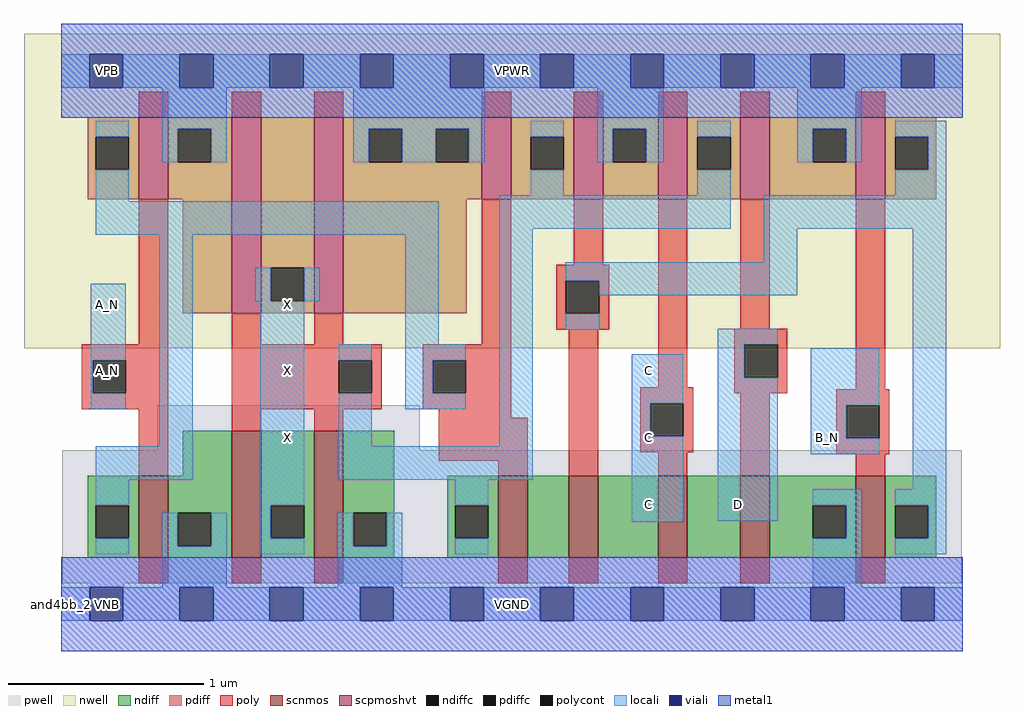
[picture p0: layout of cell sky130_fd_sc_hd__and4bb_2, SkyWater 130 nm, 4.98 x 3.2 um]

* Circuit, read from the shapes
.subckt sky130_fd_sc_hd__and4bb_2 A_N B_N C D VGND VNB VPB VPWR X
XM1 VGND A_N n1 VNB sky130_fd_pr__nfet_01v8 w=0.42 l=0.15
XM2 X n2 VGND VNB sky130_fd_pr__nfet_01v8 w=0.65 l=0.15 m=2
XM3 n3 n1 n2 VNB sky130_fd_pr__nfet_01v8 w=0.42 l=0.15
XM4 n4 n5 n3 VNB sky130_fd_pr__nfet_01v8 w=0.42 l=0.15
XM5 n6 C n4 VNB sky130_fd_pr__nfet_01v8 w=0.42 l=0.15
XM6 VGND D n6 VNB sky130_fd_pr__nfet_01v8 w=0.42 l=0.15
XM7 n5 B_N VGND VNB sky130_fd_pr__nfet_01v8 w=0.42 l=0.15
XM8 VPWR A_N n1 VPB sky130_fd_pr__pfet_01v8_hvt w=0.42 l=0.15
XM9 X n2 VPWR VPB sky130_fd_pr__pfet_01v8_hvt w=1 l=0.15 m=2
XM10 n2 n1 VPWR VPB sky130_fd_pr__pfet_01v8_hvt w=0.42 l=0.15
XM11 VPWR n5 n2 VPB sky130_fd_pr__pfet_01v8_hvt w=0.42 l=0.15
XM12 n2 C VPWR VPB sky130_fd_pr__pfet_01v8_hvt w=0.42 l=0.15
XM13 VPWR D n2 VPB sky130_fd_pr__pfet_01v8_hvt w=0.42 l=0.15
XM14 n5 B_N VPWR VPB sky130_fd_pr__pfet_01v8_hvt w=0.42 l=0.15
.ends

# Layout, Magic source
magic
tech sky130B
magscale 1 2
<< nwell >>
rect -38 261 958 582
<< pwell >>
rect 98 157 366 203
rect 1 21 919 157
rect 30 -17 64 21
<< scnmos >>
rect 79 47 109 131
rect 174 47 204 177
rect 258 47 288 177
rect 446 47 476 131
rect 518 47 548 131
rect 609 47 639 131
rect 693 47 723 131
rect 811 47 841 131
<< scpmoshvt >>
rect 79 413 109 497
rect 174 297 204 497
rect 258 297 288 497
rect 429 413 459 497
rect 523 413 553 497
rect 609 413 639 497
rect 693 413 723 497
rect 811 413 841 497
<< ndiff >>
rect 124 131 174 177
rect 27 101 79 131
rect 27 67 35 101
rect 69 67 79 101
rect 27 47 79 67
rect 109 93 174 131
rect 109 59 119 93
rect 153 59 174 93
rect 109 47 174 59
rect 204 101 258 177
rect 204 67 214 101
rect 248 67 258 101
rect 204 47 258 67
rect 288 93 340 177
rect 288 59 298 93
rect 332 59 340 93
rect 288 47 340 59
rect 394 101 446 131
rect 394 67 402 101
rect 436 67 446 101
rect 394 47 446 67
rect 476 47 518 131
rect 548 47 609 131
rect 639 47 693 131
rect 723 101 811 131
rect 723 67 767 101
rect 801 67 811 101
rect 723 47 811 67
rect 841 101 893 131
rect 841 67 851 101
rect 885 67 893 101
rect 841 47 893 67
<< pdiff >>
rect 27 477 79 497
rect 27 443 35 477
rect 69 443 79 477
rect 27 413 79 443
rect 109 485 174 497
rect 109 451 119 485
rect 153 451 174 485
rect 109 413 174 451
rect 124 297 174 413
rect 204 343 258 497
rect 204 309 214 343
rect 248 309 258 343
rect 204 297 258 309
rect 288 485 429 497
rect 288 451 314 485
rect 348 451 382 485
rect 416 451 429 485
rect 288 413 429 451
rect 459 477 523 497
rect 459 443 479 477
rect 513 443 523 477
rect 459 413 523 443
rect 553 485 609 497
rect 553 451 563 485
rect 597 451 609 485
rect 553 413 609 451
rect 639 477 693 497
rect 639 443 649 477
rect 683 443 693 477
rect 639 413 693 443
rect 723 485 811 497
rect 723 451 767 485
rect 801 451 811 485
rect 723 413 811 451
rect 841 477 893 497
rect 841 443 851 477
rect 885 443 893 477
rect 841 413 893 443
rect 288 297 414 413
<< ndiffc >>
rect 35 67 69 101
rect 119 59 153 93
rect 214 67 248 101
rect 298 59 332 93
rect 402 67 436 101
rect 767 67 801 101
rect 851 67 885 101
<< pdiffc >>
rect 35 443 69 477
rect 119 451 153 485
rect 214 309 248 343
rect 314 451 348 485
rect 382 451 416 485
rect 479 443 513 477
rect 563 451 597 485
rect 649 443 683 477
rect 767 451 801 485
rect 851 443 885 477
<< poly >>
rect 79 497 109 523
rect 174 497 204 523
rect 258 497 288 523
rect 429 497 459 523
rect 523 497 553 523
rect 609 497 639 523
rect 693 497 723 523
rect 811 497 841 523
rect 79 265 109 413
rect 21 249 109 265
rect 21 215 32 249
rect 66 215 109 249
rect 21 199 109 215
rect 79 131 109 199
rect 174 265 204 297
rect 258 265 288 297
rect 429 265 459 413
rect 523 346 553 413
rect 505 330 559 346
rect 505 296 515 330
rect 549 296 559 330
rect 505 280 559 296
rect 174 249 327 265
rect 174 215 283 249
rect 317 215 327 249
rect 174 199 327 215
rect 369 249 459 265
rect 369 215 379 249
rect 413 215 459 249
rect 369 199 459 215
rect 174 177 204 199
rect 258 177 288 199
rect 385 190 459 199
rect 385 146 476 190
rect 446 131 476 146
rect 518 131 548 280
rect 609 221 639 413
rect 693 281 723 413
rect 687 265 741 281
rect 687 231 697 265
rect 731 231 741 265
rect 591 205 645 221
rect 687 215 741 231
rect 811 219 841 413
rect 591 171 601 205
rect 635 171 645 205
rect 591 155 645 171
rect 609 131 639 155
rect 693 131 723 215
rect 791 203 845 219
rect 791 169 801 203
rect 835 169 845 203
rect 791 153 845 169
rect 811 131 841 153
rect 79 21 109 47
rect 174 21 204 47
rect 258 21 288 47
rect 446 21 476 47
rect 518 21 548 47
rect 609 21 639 47
rect 693 21 723 47
rect 811 21 841 47
<< polycont >>
rect 32 215 66 249
rect 515 296 549 330
rect 283 215 317 249
rect 379 215 413 249
rect 697 231 731 265
rect 601 171 635 205
rect 801 169 835 203
<< locali >>
rect 0 527 29 561
rect 63 527 121 561
rect 155 527 213 561
rect 247 527 305 561
rect 339 527 397 561
rect 431 527 489 561
rect 523 527 581 561
rect 615 527 673 561
rect 707 527 765 561
rect 799 527 857 561
rect 891 527 920 561
rect 35 477 69 493
rect 103 485 169 527
rect 103 451 119 485
rect 153 451 169 485
rect 298 485 432 527
rect 298 451 314 485
rect 348 451 382 485
rect 416 451 432 485
rect 479 477 513 493
rect 35 411 69 443
rect 547 485 615 527
rect 547 451 563 485
rect 597 451 615 485
rect 649 477 683 493
rect 479 417 513 443
rect 751 485 817 527
rect 751 451 767 485
rect 801 451 817 485
rect 851 477 903 493
rect 649 417 683 443
rect 885 443 903 477
rect 851 417 903 443
rect 35 377 385 411
rect 30 249 66 327
rect 30 215 32 249
rect 30 199 66 215
rect 100 161 134 377
rect 198 309 214 343
rect 248 309 264 343
rect 35 127 134 161
rect 35 101 69 127
rect 203 101 248 309
rect 351 265 385 377
rect 447 383 683 417
rect 717 383 903 417
rect 283 249 317 265
rect 283 161 317 215
rect 351 249 413 265
rect 351 215 379 249
rect 351 199 413 215
rect 447 161 481 383
rect 717 349 751 383
rect 515 330 751 349
rect 549 315 751 330
rect 515 280 549 296
rect 670 265 731 281
rect 283 127 481 161
rect 582 205 635 255
rect 582 171 601 205
rect 35 51 69 67
rect 103 59 119 93
rect 153 59 169 93
rect 103 17 169 59
rect 203 67 214 101
rect 402 101 436 127
rect 203 51 248 67
rect 282 59 298 93
rect 332 59 348 93
rect 282 17 348 59
rect 582 84 635 171
rect 670 231 697 265
rect 670 85 731 231
rect 765 203 835 261
rect 765 169 801 203
rect 765 153 835 169
rect 869 117 903 383
rect 767 101 817 117
rect 402 51 436 67
rect 801 67 817 101
rect 767 17 817 67
rect 851 101 903 117
rect 885 67 903 101
rect 851 51 903 67
rect 0 -17 29 17
rect 63 -17 121 17
rect 155 -17 213 17
rect 247 -17 305 17
rect 339 -17 397 17
rect 431 -17 489 17
rect 523 -17 581 17
rect 615 -17 673 17
rect 707 -17 765 17
rect 799 -17 857 17
rect 891 -17 920 17
<< viali >>
rect 29 527 63 561
rect 121 527 155 561
rect 213 527 247 561
rect 305 527 339 561
rect 397 527 431 561
rect 489 527 523 561
rect 581 527 615 561
rect 673 527 707 561
rect 765 527 799 561
rect 857 527 891 561
rect 29 -17 63 17
rect 121 -17 155 17
rect 213 -17 247 17
rect 305 -17 339 17
rect 397 -17 431 17
rect 489 -17 523 17
rect 581 -17 615 17
rect 673 -17 707 17
rect 765 -17 799 17
rect 857 -17 891 17
<< metal1 >>
rect 0 561 920 592
rect 0 527 29 561
rect 63 527 121 561
rect 155 527 213 561
rect 247 527 305 561
rect 339 527 397 561
rect 431 527 489 561
rect 523 527 581 561
rect 615 527 673 561
rect 707 527 765 561
rect 799 527 857 561
rect 891 527 920 561
rect 0 496 920 527
rect 0 17 920 48
rect 0 -17 29 17
rect 63 -17 121 17
rect 155 -17 213 17
rect 247 -17 305 17
rect 339 -17 397 17
rect 431 -17 489 17
rect 523 -17 581 17
rect 615 -17 673 17
rect 707 -17 765 17
rect 799 -17 857 17
rect 891 -17 920 17
rect 0 -48 920 -17
<< labels >>
flabel pwell s 30 -17 64 17 0 FreeSans 200 0 0 0 VNB
port 6 nsew ground bidirectional
flabel nwell s 30 527 64 561 0 FreeSans 200 0 0 0 VPB
port 7 nsew power bidirectional
flabel metal1 s 30 -17 64 17 0 FreeSans 200 0 0 0 VGND
port 5 nsew ground bidirectional abutment
flabel metal1 s 30 527 64 561 0 FreeSans 200 0 0 0 VPWR
port 8 nsew power bidirectional abutment
flabel locali s 30 289 64 323 0 FreeSans 200 0 0 0 A_N
port 1 nsew signal input
flabel locali s 582 85 616 119 0 FreeSans 200 0 0 0 C
port 3 nsew signal input
flabel locali s 765 153 799 187 0 FreeSans 200 0 0 0 B_N
port 2 nsew signal input
flabel locali s 582 153 616 187 0 FreeSans 200 0 0 0 C
port 3 nsew signal input
flabel locali s 214 221 248 255 0 FreeSans 200 0 0 0 X
port 9 nsew signal output
flabel locali s 214 289 248 323 0 FreeSans 200 0 0 0 X
port 9 nsew signal output
flabel locali s 582 221 616 255 0 FreeSans 200 0 0 0 C
port 3 nsew signal input
flabel locali s 30 221 64 255 0 FreeSans 200 0 0 0 A_N
port 1 nsew signal input
flabel locali s 214 153 248 187 0 FreeSans 200 0 0 0 X
port 9 nsew signal output
flabel locali s 674 85 708 119 0 FreeSans 200 0 0 0 D
port 4 nsew signal input
rlabel comment s 0 0 0 0 4 and4bb_2
rlabel metal1 s 0 -48 920 48 1 VGND
port 5 nsew ground bidirectional abutment
rlabel metal1 s 0 496 920 592 1 VPWR
port 8 nsew power bidirectional abutment
<< properties >>
string FIXED_BBOX 0 0 920 544
string GDS_END 3074894
string GDS_FILE $PDKPATH/libs.ref/sky130_fd_sc_hd/gds/sky130_fd_sc_hd.gds
string GDS_START 3066958
string LEFclass CORE
string LEFsite unithd
string LEFsymmetry X Y R90
string path 0.000 0.000 23.000 0.000 
<< end >>
